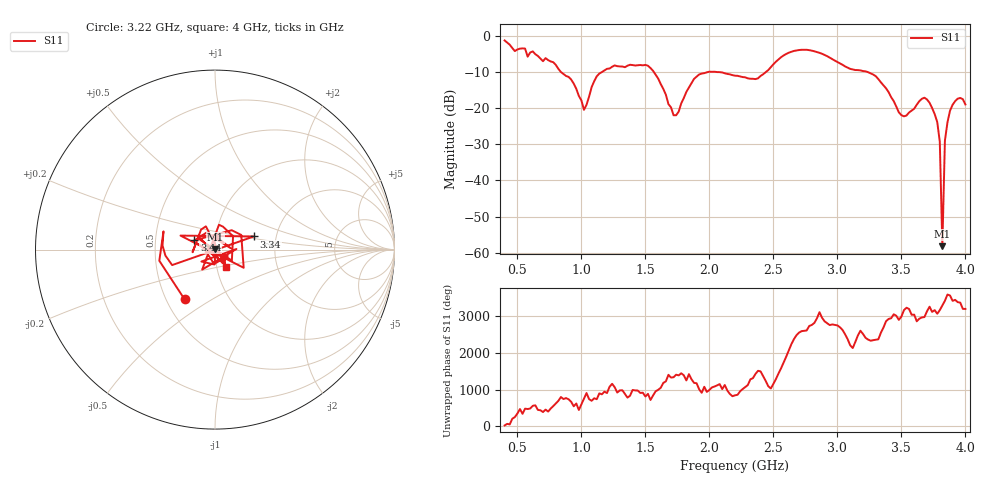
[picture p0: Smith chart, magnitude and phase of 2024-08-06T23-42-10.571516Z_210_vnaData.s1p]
!Created with skrf (http://scikit-rf.org).
# Hz S RI R 50.0
!freq ReS11 ImS11
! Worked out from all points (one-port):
!   181 points, 400 MHz to 4 GHz, reference 50 ohm
!   lowest |S11| = -58.2 dB at 3.82 GHz (marker M1), VSWR 1.00, Z = 50.1 + j0.0681 ohm
!   |S11| at or under -10 dB: 1.567 GHz to 1.983 GHz (415.6 MHz wide, 23.4 % of centre); 2.085 GHz to 2.44 GHz (355 MHz wide, 15.7 % of centre); 3.24 GHz to end of sweep (the widest 3 of 4)
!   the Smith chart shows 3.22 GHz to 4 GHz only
!   S11 on the Smith chart (normalised r, x): 3.22 GHz: 0.62, -0.38; 3.34 GHz: 1.53, +0.24; 3.44 GHz: 0.79, +0.08; 4 GHz: 1.10, -0.22
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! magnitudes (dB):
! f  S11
! 400 MHz  -1.2
! 860 MHz  -10.5
! 940 MHz  -13.2
! 1.02 GHz  -20.4
! 1.12 GHz  -11.1
! 1.3 GHz  -8.4
! 1.52 GHz  -8.2
! 1.6 GHz  -11.8
! 1.72 GHz  -21.9
! 1.76 GHz  -20.9
! 1.92 GHz  -10.6
! 2.2 GHz  -11.0
! 2.38 GHz  -11.7
! 2.66 GHz  -4.1
! 3.1 GHz  -9.1
! 3.22 GHz  -9.8
! 3.34 GHz  -12.8
! 3.44 GHz  -18.0
! 3.5 GHz  -21.9
! 3.56 GHz  -21.2
! 3.68 GHz  -17.1
! 3.78 GHz  -23.8
! 3.8 GHz  -29.3
! 3.82 GHz  -58.2
! 3.84 GHz  -29.0
! 3.86 GHz  -23.9
! 3.92 GHz  -18.0
! 4 GHz  -18.9
